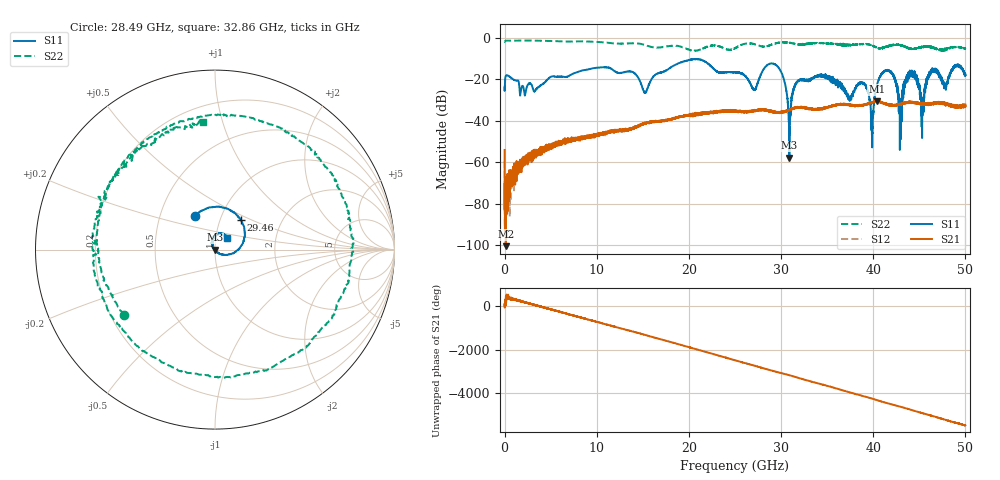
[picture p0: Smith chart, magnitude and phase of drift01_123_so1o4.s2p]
!Created with skrf (http://scikit-rf.org).
# Hz S RI R 50.0
!freq ReS11 ImS11 ReS21 ImS21 ReS12 ImS12 ReS22 ImS22
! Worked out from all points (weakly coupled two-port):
!   10001 points, 300 kHz to 50 GHz, reference 50 ohm
!   highest |S21| = -30.60 dB at 40.37 GHz (marker M1); lowest = -100.4 dB at 130.3 MHz (marker M2)
!   lowest |S11| = -57.9 dB at 30.9 GHz (marker M3), VSWR 1.00, Z = 50 - j0.123 ohm
!   |S11| at or under -10 dB: start of sweep to end of sweep
!   |S22| runs from -6.4 to -1.4 dB; largest |S21 - S12| = 0.0043
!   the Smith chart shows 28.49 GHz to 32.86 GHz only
!   S11 on the Smith chart (normalised r, x): 28.49 GHz: 0.75, +0.29; 29.46 GHz: 1.26, +0.43; 32.86 GHz: 1.14, +0.15
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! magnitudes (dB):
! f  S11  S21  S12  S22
! 300 kHz  -23.6  -54.1  -59.3  -2.1
! 130.3 MHz  -18.4  -100.4  -76.3  -1.5
! 8.335 GHz  -16.0  -47.6  -48.1  -1.8
! 15.23 GHz  -26.6  -41.1  -41.3  -3.6
! 16.67 GHz  -17.1  -40.4  -40.3  -4.8
! 25 GHz  -16.6  -35.4  -35.4  -5.1
! 27.1 GHz  -25.1  -35.3  -35.1  -3.1
! 28.49 GHz  -13.3  -34.8  -35.0  -4.1
! 29.46 GHz  -13.2  -36.0  -36.1  -2.7
! 30.9 GHz  -57.9  -34.7  -34.9  -2.5
! 31.61 GHz  -22.2  -33.7  -34.0  -3.0
! 32.86 GHz  -20.4  -33.9  -34.4  -2.9
! 33.34 GHz  -19.7  -34.1  -34.1  -2.7
! 38.92 GHz  -22.4  -32.6  -32.6  -3.0
! 39.86 GHz  -46.9  -31.4  -31.2  -3.7
! 40.37 GHz  -23.4  -30.6  -30.7  -4.7
! 41.67 GHz  -15.9  -32.2  -32.5  -4.2
! 42.96 GHz  -41.3  -32.1  -32.1  -3.7
! 44.07 GHz  -17.7  -31.1  -31.0  -5.3
! 45.31 GHz  -38.1  -32.3  -32.1  -4.3
! 46.42 GHz  -15.4  -31.5  -31.8  -4.7
! 50 GHz  -17.7  -32.3  -32.6  -5.3
